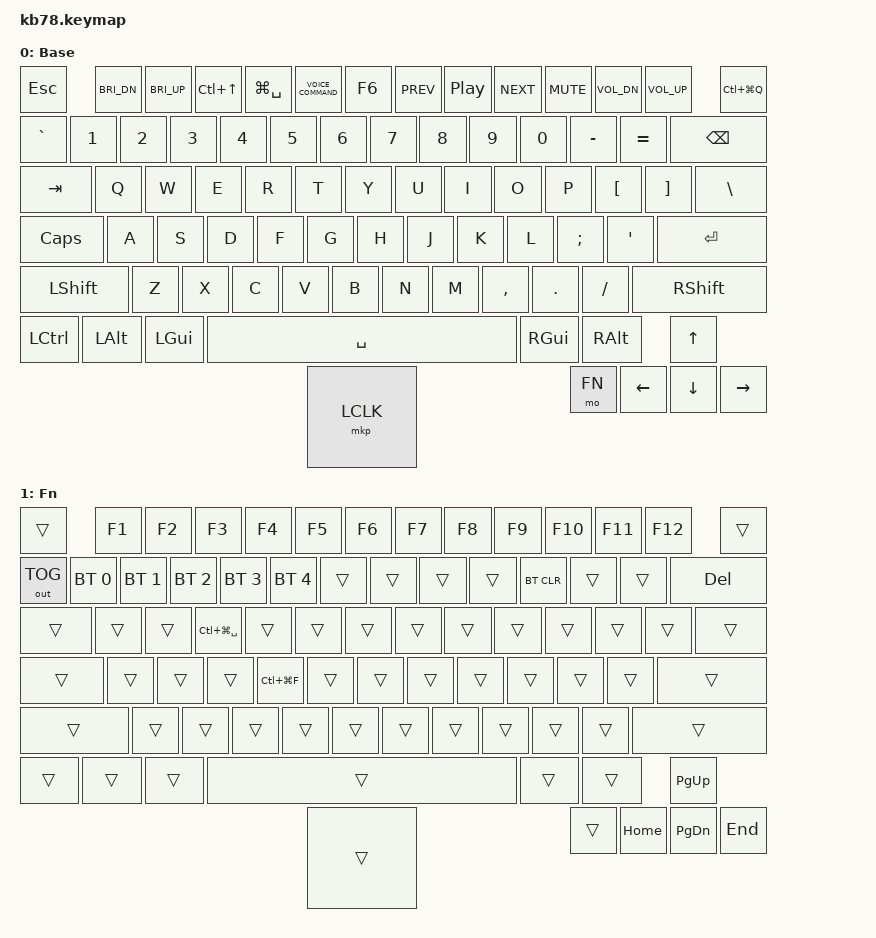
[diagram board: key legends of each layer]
/*
 * KB78 キーマップ（MacBook Air と同じ配列・Fn の割り当て）
 *
 * キー番号（tests/ のテストで使う）
 *   0 Esc  1〜12 F1〜F12  13 Power
 *  14 `  15〜24 1〜0  25 -  26 =  27 Delete
 *  28 Tab  29〜38 Q〜P  39 [  40 ]  41 \
 *  42 Caps  43〜51 A〜L  52 ;  53 '  54 Return
 *  55 Shift  56〜62 Z〜M  63 ,  64 .  65 /  66 Shift
 *  67 Ctrl  68 Opt  69 Cmd  70 Space  71 Cmd  72 Opt  73 ↑
 *  74 Fn  75 ←  76 ↓  77 →
 *  78 タッチパッドのクリック
 */

#include <behaviors.dtsi>
#include <dt-bindings/zmk/keys.h>
#include <dt-bindings/zmk/bt.h>
#include <dt-bindings/zmk/outputs.h>
#include <dt-bindings/zmk/pointing.h>

#define BASE 0
#define FN   1

// macOS のショートカット
#define MISSION_CTRL LC(UP)         // Mission Control
#define SPOTLIGHT    LG(SPACE)      // Spotlight
#define LOCK_SCREEN  LC(LG(Q))      // 画面をロック
#define EMOJI        LC(LG(SPACE))  // 絵文字ビューア（Mac の Fn+E）
#define FULLSCREEN   LC(LG(F))      // フルスクリーン（Mac の Fn+F）

/ {
    keymap {
        compatible = "zmk,keymap";

        base_layer {
            display-name = "Base";
            bindings = <
   &kp ESC  &kp C_BRI_DN  &kp C_BRI_UP  &kp MISSION_CTRL  &kp SPOTLIGHT  &kp C_VOICE_COMMAND  &kp F6  &kp C_PREV  &kp C_PP  &kp C_NEXT  &kp C_MUTE  &kp C_VOL_DN  &kp C_VOL_UP  &kp LOCK_SCREEN
   &kp GRAVE  &kp N1  &kp N2  &kp N3  &kp N4  &kp N5  &kp N6  &kp N7  &kp N8  &kp N9  &kp N0  &kp MINUS  &kp EQUAL  &kp BSPC
   &kp TAB  &kp Q  &kp W  &kp E  &kp R  &kp T  &kp Y  &kp U  &kp I  &kp O  &kp P  &kp LBKT  &kp RBKT  &kp BSLH
   &kp CAPS  &kp A  &kp S  &kp D  &kp F  &kp G  &kp H  &kp J  &kp K  &kp L  &kp SEMI  &kp SQT  &kp RET
   &kp LSHFT  &kp Z  &kp X  &kp C  &kp V  &kp B  &kp N  &kp M  &kp COMMA  &kp DOT  &kp FSLH  &kp RSHFT
   &kp LCTRL  &kp LALT  &kp LGUI  &kp SPACE  &kp RGUI  &kp RALT  &kp UP
   &mo FN  &kp LEFT  &kp DOWN  &kp RIGHT
   &mkp LCLK
            >;
        };

        fn_layer {
            display-name = "Fn";
            bindings = <
   &trans  &kp F1  &kp F2  &kp F3  &kp F4  &kp F5  &kp F6  &kp F7  &kp F8  &kp F9  &kp F10  &kp F11  &kp F12  &trans
   &out OUT_TOG  &bt BT_SEL 0  &bt BT_SEL 1  &bt BT_SEL 2  &bt BT_SEL 3  &bt BT_SEL 4  &trans  &trans  &trans  &trans  &bt BT_CLR  &trans  &trans  &kp DEL
   &trans  &trans  &trans  &kp EMOJI  &trans  &trans  &trans  &trans  &trans  &trans  &trans  &trans  &trans  &trans
   &trans  &trans  &trans  &trans  &kp FULLSCREEN  &trans  &trans  &trans  &trans  &trans  &trans  &trans  &trans
   &trans  &trans  &trans  &trans  &trans  &trans  &trans  &trans  &trans  &trans  &trans  &trans
   &trans  &trans  &trans  &trans  &trans  &trans  &kp PG_UP
   &trans  &kp HOME  &kp PG_DN  &kp END
   &trans
            >;
        };
    };
};
